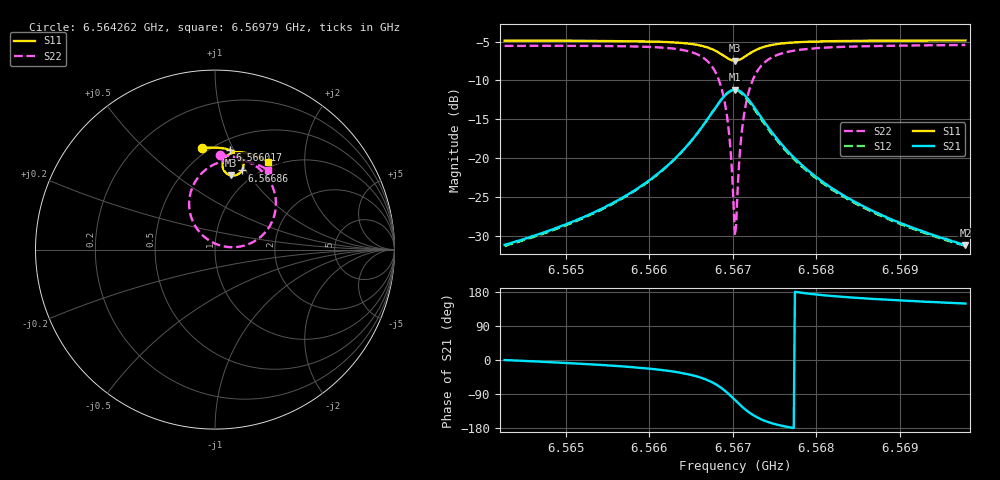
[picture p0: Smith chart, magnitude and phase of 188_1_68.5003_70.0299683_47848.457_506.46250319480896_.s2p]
#  HZ  S  RI  R  50.00
! Rohde & Schwarz Vector Network Analyzer
! Rohde-Schwarz,ZNB20-2Port,1311601062101988,3.16
! Created: UTC 3/20/2024, 4:56:59 PM
! freq[Hz]  re:S11  im:S11  re:S21  im:S21  re:S12  im:S12  re:S22  im:S22
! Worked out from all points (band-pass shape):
!   401 points, 6.564262 GHz to 6.56979 GHz, reference 50 ohm
!   highest |S21| = -11.20 dB at 6.567026 GHz (marker M1); lowest = -31.2 dB at 6.56979 GHz (marker M2)
!   |S21| within 3 dB of the highest: 6.566749 GHz to 6.567303 GHz (553.8 kHz wide, 0.00843 % of centre)
!   lowest |S11| = -7.5 dB at 6.567026 GHz (marker M3), VSWR 2.46, Z = 40.9 + j41.2 ohm
!   |S11| at or under -10 dB: nowhere
!   |S22| runs from -30.0 to -5.4 dB; largest |S21 - S12| = 0.013
!   S11 on the Smith chart (normalised r, x): 6.564262 GHz: 0.46, +0.77; 6.566017 GHz: 0.59, +0.97; 6.56686 GHz: 0.85, +0.96; 6.56979 GHz: 0.92, +1.33
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6.5642618e9  -0.0698 0.5649  0.0276 -1.41e-05  0.027 -0.000537  0.0304 0.5261
6.5651878e9  0.00573 0.568  0.0404 -0.00707  0.0399 -0.00775  0.1176 0.5135
6.5660171e9  0.0824 0.556  0.0672 -0.0288  0.0661 -0.0296  0.223 0.4677
6.5661139e9  0.0924 0.5526  0.0726 -0.0345  0.0713 -0.0354  0.2391 0.4563
6.5664179e9  0.127 0.5336  0.093 -0.0665  0.0917 -0.0678  0.2977 0.3932
6.5666391e9  0.1525 0.5029  0.1068 -0.1199  0.1044 -0.1223  0.3371 0.29
6.5667635e9  0.1593 0.4722  0.0994 -0.1737  0.0952 -0.177  0.3295 0.1872
6.5668602e9  0.1507 0.4412  0.0671 -0.2269  0.0596 -0.2297  0.272 0.0875
6.5669432e9  0.1258 0.4182  0.00735 -0.2639  -0.00316 -0.2641  0.1625 0.0221
6.5669708e9  0.1139 0.4138  -0.0186 -0.2697  -0.0303 -0.2678  0.115 0.0139
6.5670123e9  0.0944 0.4125  -0.0604 -0.2686  -0.0721 -0.2638  0.0406 0.0199
6.5670261e9  0.0877 0.4135  -0.0744 -0.2653  -0.0857 -0.2596  0.0167 0.0268
6.5670399e9  0.0814 0.4153  -0.088 -0.2608  -0.0988 -0.254  -0.00653 0.0366
6.5670537e9  0.0752 0.418  -0.1009 -0.2551  -0.1111 -0.2474  -0.0285 0.0484
6.5670952e9  0.0593 0.429  -0.1343 -0.2312  -0.1424 -0.2212  -0.0839 0.0948
6.5671367e9  0.0485 0.4439  -0.1583 -0.201  -0.1637 -0.1901  -0.1207 0.1507
6.5671919e9  0.042 0.4651  -0.1752 -0.159  -0.1773 -0.1481  -0.1425 0.2265
6.5672611e9  0.0441 0.489  -0.1777 -0.1123  -0.1769 -0.103  -0.1384 0.3077
6.5675098e9  0.0824 0.5328  -0.1348 -0.0249  -0.1317 -0.0211  -0.0408 0.4536
6.5679521e9  0.143 0.5429  -0.0786 0.00829  -0.0768 0.00953  0.0883 0.499
6.5688782e9  0.2283 0.5216  -0.038 0.0148  -0.0372 0.015  0.2182 0.4806
6.5697904e9  0.2954 0.4887  -0.0236 0.0142  -0.0231 0.0143  0.2974 0.4435
